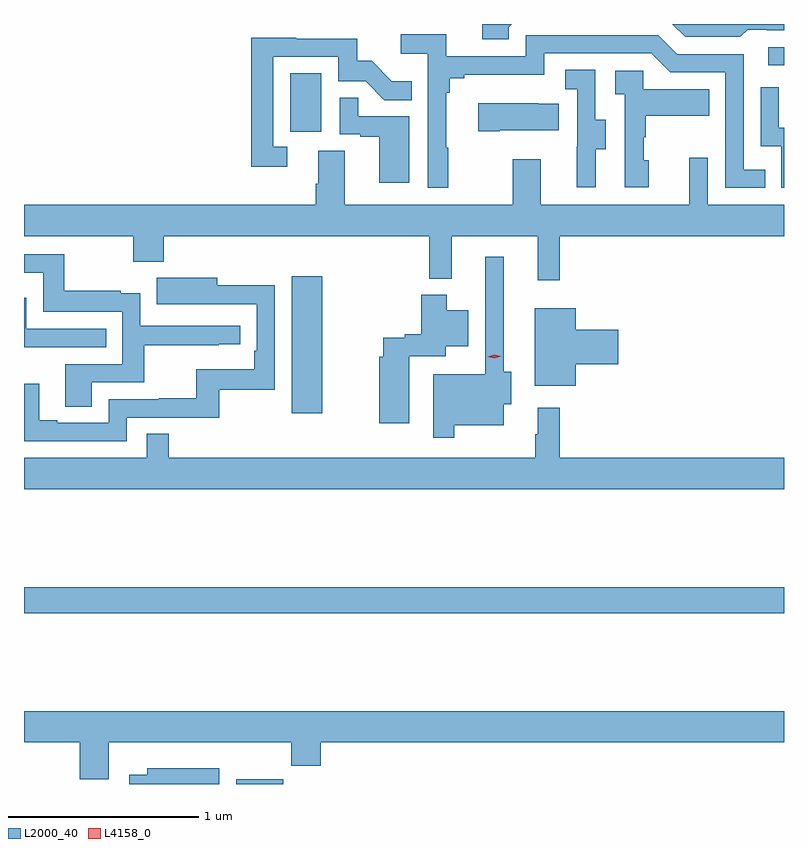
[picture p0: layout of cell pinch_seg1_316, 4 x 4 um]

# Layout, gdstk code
import gdstk
lib = gdstk.Library(unit=1e-6, precision=1e-09)
def R(c, l, rs):  # rectangles x0, y0, x1, y1
    for r in rs: c.add(gdstk.rectangle(r[:2], r[2:], *l))
def P(c, l, *ps):  # polygons
    for p in ps: c.add(gdstk.Polygon(p, *l))
L2000_40 = (2000, 40)
L4158_0 = (4158, 0)

pinch_seg1_316 = lib.new_cell('pinch_seg1_316')
R(pinch_seg1_316, L2000_40, [(999.533,544.852,999.782,544.878), (998.417,545.752,1002.417,545.888), (999.827,546.804,999.988,547.525), (999.818,548.286,999.982,548.593), (1002.333,548.634,1002.417,548.73)])
P(pinch_seg1_316, L2000_40, [(1002.226,548.823),(1002.325,548.823),(1002.325,548.82),(1002.417,548.82),(1002.417,548.852),(1001.83,548.852),(1001.898,548.784),(1002.187,548.784)],
  [(1000.968,548.835),(1000.985,548.852),(1000.829,548.852),(1000.829,548.772),(1000.968,548.772)],
  [(1000.651,548.201),(1000.639,548.201),(1000.639,548.489),(1000.658,548.489),(1000.658,548.566),(1000.735,548.566),(1000.735,548.585),(1001.154,548.585),(1001.154,548.697),(1001.718,548.697),(1001.817,548.598),(1002.108,548.598),(1002.108,547.989),(1002.317,547.989),(1002.317,548.085),(1002.204,548.085),(1002.204,548.694),(1001.854,548.694),(1001.755,548.793),(1001.058,548.793),(1001.058,548.682),(1000.64,548.682),(1000.64,548.798),(1000.401,548.798),(1000.401,548.696),(1000.542,548.696),(1000.542,547.989),(1000.651,547.989)],
  [(999.802,548.205),(999.729,548.205),(999.729,548.679),(1000.071,548.679),(1000.071,548.55),(1000.215,548.55),(1000.313,548.452),(1000.457,548.452),(1000.457,548.551),(1000.353,548.551),(1000.246,548.658),(1000.17,548.658),(1000.17,548.775),(999.851,548.775),(999.851,548.78),(999.613,548.78),(999.613,548.1),(999.802,548.1)],
  [(1001.425,548.194),(1001.479,548.194),(1001.479,548.349),(1001.424,548.349),(1001.424,548.612),(1001.265,548.612),(1001.265,548.509),(1001.328,548.509),(1001.328,548.205),(1001.327,548.205),(1001.327,547.992),(1001.425,547.992)],
  [(1001.704,548.136),(1001.679,548.136),(1001.679,548.255),(1001.689,548.255),(1001.689,548.369),(1002.023,548.369),(1002.023,548.509),(1001.676,548.509),(1001.676,548.607),(1001.529,548.607),(1001.529,548.483),(1001.58,548.483),(1001.58,547.992),(1001.704,547.992)],
  [(1002.417,548.306),(1002.39,548.306),(1002.39,548.518),(1002.294,548.518),(1002.294,548.208),(1002.402,548.208),(1002.402,547.989),(1002.417,547.989)],
  [(1000.444,548.367),(1000.175,548.367),(1000.175,548.465),(1000.08,548.465),(1000.08,548.271),(1000.187,548.271),(1000.187,548.259),(1000.286,548.259),(1000.286,548.016),(1000.444,548.016)],
  [(1000.921,548.294),(1001.231,548.294),(1001.231,548.431),(1001.123,548.431),(1001.123,548.434),(1000.809,548.434),(1000.809,548.287),(1000.921,548.287)],
  [(1000.549,547.511),(1000.667,547.511),(1000.667,547.736),(1001.12,547.736),(1001.12,547.503),(1001.237,547.503),(1001.237,547.736),(1002.417,547.736),(1002.417,547.9),(1002.015,547.9),(1002.015,548.149),(1001.918,548.149),(1001.918,547.9),(1001.137,547.9),(1001.137,548.14),(1000.99,548.14),(1000.99,547.9),(1000.105,547.9),(1000.105,548.186),(999.965,548.186),(999.965,548.012),(999.953,548.012),(999.953,547.9),(998.417,547.9),(998.417,547.736),(998.992,547.736),(998.992,547.601),(999.152,547.601),(999.152,547.736),(1000.549,547.736)],
  [(998.773,546.966),(999.05,546.966),(999.05,547.162),(999.443,547.162),(999.443,547.167),(999.556,547.167),(999.556,547.263),(999.03,547.263),(999.03,547.435),(998.927,547.435),(998.927,547.447),(998.629,547.447),(998.629,547.641),(998.417,547.641),(998.417,547.544),(998.518,547.544),(998.518,547.338),(998.934,547.338),(998.934,547.062),(998.633,547.062),(998.633,546.838),(998.773,546.838)],
  [(1000.681,546.74),(1000.942,546.74),(1000.942,546.851),(1000.981,546.851),(1000.981,547.022),(1000.942,547.022),(1000.942,547.627),(1000.845,547.627),(1000.845,547.009),(1000.572,547.009),(1000.572,546.675),(1000.681,546.675)],
  [(998.958,546.78),(999.445,546.78),(999.445,546.927),(999.738,546.927),(999.738,547.478),(999.433,547.478),(999.433,547.516),(999.115,547.516),(999.115,547.376),(999.329,547.376),(999.329,547.377),(999.642,547.377),(999.642,547.132),(999.629,547.132),(999.629,547.036),(999.324,547.036),(999.324,546.881),(999.127,546.881),(999.127,546.876),(998.862,546.876),(998.862,546.753),(998.593,546.753),(998.593,546.766),(998.497,546.766),(998.497,546.959),(998.417,546.959),(998.417,546.657),(998.958,546.657)],
  [(1000.444,547.104),(1000.636,547.104),(1000.636,547.157),(1000.756,547.157),(1000.756,547.345),(1000.642,547.345),(1000.642,547.426),(1000.508,547.426),(1000.508,547.22),(1000.422,547.22),(1000.422,547.2),(1000.309,547.2),(1000.309,547.102),(1000.286,547.102),(1000.286,546.75),(1000.444,546.75)],
  [(998.849,547.248),(998.43,547.248),(998.43,547.411),(998.417,547.411),(998.417,547.152),(998.849,547.152)],
  [(1001.32,547.061),(1001.545,547.061),(1001.545,547.244),(1001.32,547.244),(1001.32,547.357),(1001.105,547.357),(1001.105,546.947),(1001.32,546.947)],
  [(1002.417,546.568),(1001.237,546.568),(1001.237,546.832),(1001.12,546.832),(1001.12,546.692),(1001.109,546.692),(1001.109,546.568),(999.179,546.568),(999.179,546.695),(999.063,546.695),(999.063,546.568),(998.417,546.568),(998.417,546.404),(1002.417,546.404)],
  [(998.863,545.072),(999.823,545.072),(999.823,544.948),(999.98,544.948),(999.98,545.072),(1002.417,545.072),(1002.417,545.236),(998.417,545.236),(998.417,545.072),(998.711,545.072),(998.711,544.878),(998.863,544.878)],
  [(999.445,544.936),(999.065,544.936),(999.065,544.9),(998.972,544.9),(998.972,544.852),(999.445,544.852)])
P(pinch_seg1_316, L4158_0, [(1000.892,547.092),(1000.857,547.101),(1000.856,547.101),(1000.857,547.101),(1000.892,547.112),(1000.928,547.103),(1000.928,547.103),(1000.928,547.103)])

lib.write_gds('pinch_seg1_316.gds')
